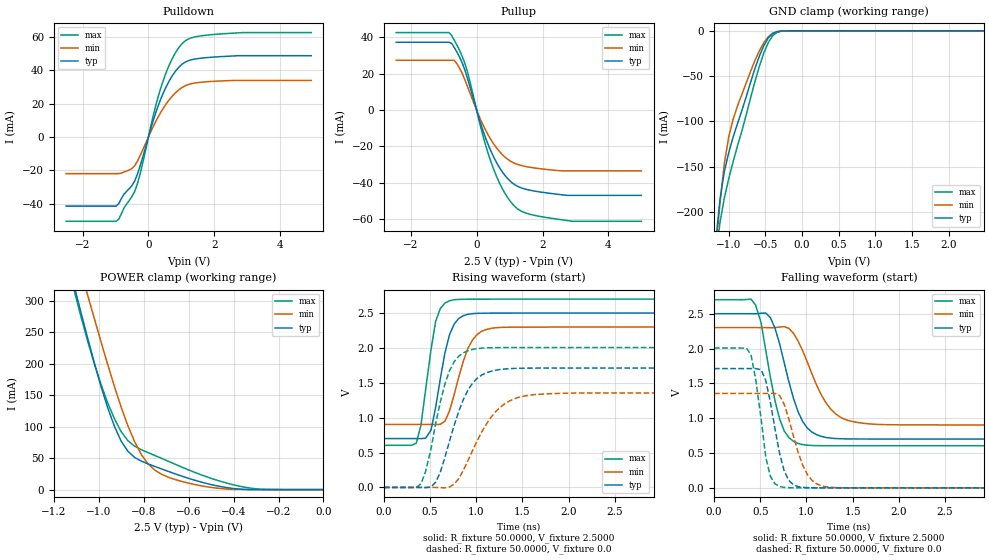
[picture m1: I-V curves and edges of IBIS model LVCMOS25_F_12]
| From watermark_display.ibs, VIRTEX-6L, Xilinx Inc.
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|   Model LVCMOS25_F_12
[Model]  LVCMOS25_F_12
Model_type I/O
Polarity   Non-Inverting
Enable   Active-Low
Vinl = 0.65
Vinh = 1.85
Vmeas =  1.2500V
Cref =   0.0F
Rref =   1.0000M
Vref =   0.0V
| Input mode values:
C_comp 4.494pF 4.451pF 4.526pF
| Output mode values:
|C_comp 4.585pF 4.451pF 4.714pF
[Model Spec]
Vinl   0.65   0.6   0.7
Vinh   1.85   1.7   2.0
[Temperature Range]   25.0000   85.0000   0.0
[Voltage Range]   2.5000V   2.3000V   2.7000V
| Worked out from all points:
|   slope of the pulldown table from 0 to 0.375 V, typ, clamps not added: 16.4 ohm
|   slope of the pullup table from 0 to 0.375 V, typ, clamps not added: 18.7 ohm
|   GND clamp passes 1 mA (typ) near -0.34 V on its own axis
|   POWER clamp passes 1 mA (typ) near -0.38 V on its own axis
|   rising waveform, R_fixture 50.0000, V_fixture 2.5000: 20-80 % time 154ps typ, 192ps min, 134ps max; typ from 0.701 V to 2.5 V
|   rising waveform, R_fixture 50.0000, V_fixture 0.0: 20-80 % time 261ps typ, 339ps min, 210ps max; typ from 0 V to 1.71 V
|   falling waveform, R_fixture 50.0000, V_fixture 2.5000: 20-80 % time 227ps typ, 293ps min, 182ps max; typ from 2.5 V to 0.701 V
|   falling waveform, R_fixture 50.0000, V_fixture 0.0: 20-80 % time 152ps typ, 193ps min, 123ps max; typ from 1.71 V to 0 V
[Pulldown]
|Voltage   I(typ)   I(min)   I(max)
-2.5V     -41.5mA    -22.02mA   -50.6mA
-980mV    -41.5mA    -22.02mA   -50.6mA
-900mV    -39.9mA    -22.02mA   -49.3mA
-500mV    -29.13mA   -18.9mA    -35.68mA
-340mV    -22.63mA   -14.72mA   -28.46mA
220mV     14.46mA    9.227mA    18.74mA
540mV     30.21mA    19.88mA    38.8mA
860mV     40.42mA    27.19mA    51.81mA
1.1V      44.71mA    30.53mA    57.38mA
1.5V      46.99mA    32.6mA     60.33mA
2.3V      48.28mA    33.66mA    61.9mA
4.94V     48.74mA    33.9mA     62.59mA
[Pullup]
|Voltage   I(typ)   I(min)   I(max)
-2.44V    37.31mA    27.39mA    42.64mA
-840mV    37.31mA    27.39mA    42.64mA
-760mV    36.77mA    27.39mA    41.15mA
-600mV    32mA       25.55mA    35.84mA
-280mV    17.58mA    13.07mA    21.21mA
200mV     -11.67mA   -8.395mA   -14.64mA
520mV     -25.95mA   -18.7mA    -32.74mA
840mV     -35.54mA   -25.56mA   -45.25mA
1.24V     -41.97mA   -29.91mA   -54.34mA
1.72V     -44.49mA   -31.78mA   -57.82mA
2.92V     -46.97mA   -33.45mA   -61.24mA
5V        -46.97mA   -33.45mA   -61.24mA
[GND_clamp]
|Voltage   I(typ)   I(min)   I(max)
-2.5V     -1.776A    -1.542A    -2.145A
-1.18V    -234.9mA   -245.4mA   -254.5mA
-1.12V    -186.7mA   -190.9mA   -212.2mA
-1.06V    -155.6mA   -146.6mA   -184.7mA
-1V       -134.5mA   -117.3mA   -163.4mA
-940mV    -117.5mA   -97.81mA   -144.5mA
-700mV    -56.37mA   -44.51mA   -73.49mA
-580mV    -27.49mA   -21.69mA   -38.67mA
-460mV    -7.862mA   -6.57mA    -12.96mA
-400mV    -2.953mA   -2.74mA    -5.373mA
-220mV    -60.62uA   -92.56uA   -101.6uA
2.48V     290.9nA    1.381uA    494.2nA
[POWER_clamp]
|Voltage   I(typ)   I(min)   I(max)
-2.49V    2.255A     2.176A     2.344A
-1.11V    323.7mA    385.4mA    316.8mA
-1.08V    282.1mA    347.1mA    275.4mA
-1.05V    241.1mA    309.2mA    236.2mA
-960mV    129.6mA    198.1mA    137.3mA
-900mV    76.58mA    130.4mA    91.7mA
-870mV    60.61mA    100.9mA    77.39mA
-810mV    45.08mA    55.2mA     63.19mA
-750mV    36.71mA    30.76mA    54.09mA
-570mV    14.56mA    7.858mA    26.92mA
-360mV    564.4uA    122.1uA    4.422mA
0V        294.1nA    909.4nA    566.4nA
[Ramp]
| variable   typ   min   max
dV/dt_r  1.0272/0.2578n   0.8130/0.3387n   1.2036/0.2075n
dV/dt_f  1.0795/0.2227n   0.8379/0.2893n   1.2576/0.1836n
R_load = 50.0000
[Rising Waveform]
R_fixture= 50.0000
V_fixture= 2.5000
V_fixture_min= 2.3000
V_fixture_max= 2.7000
|time   V(typ)   V(min)   V(max)
0s        700.8mV    903.5mV    604mV
350ps     700.9mV    903.5mV    636.5mV
400ps     700.1mV    903.5mV    889.1mV
510ps     821.4mV    903.4mV    1.98V
560ps     1.153V     902.1mV    2.383V
710ps     2.19V      1.097V     2.677V
810ps     2.423V     1.583V     2.696V
910ps     2.483V     1.996V     2.699V
1.16ns    2.499V     2.281V     2.7V
5ns       2.5V       2.3V       2.7V
[Rising Waveform]
R_fixture= 50.0000
V_fixture= 0.0
|time   V(typ)   V(min)   V(max)
0s        0V         0V         0V
400ps     -75.74uV   -9.068uV   51.51mV
450ps     -3.203mV   16.22uV    224.1mV
560ps     74.26mV    -46.05uV   918.2mV
710ps     663.4mV    6.428mV    1.673V
910ps     1.397V     385.8mV    1.96V
1.01ns    1.566V     670.3mV    1.99V
1.21ns    1.681V     1.087V     2.004V
1.57ns    1.711V     1.322V     2.006V
5ns       1.712V     1.355V     2.006V
[Falling Waveform]
R_fixture= 50.0000
V_fixture= 2.5000
V_fixture_min= 2.3000
V_fixture_max= 2.7000
|time   V(typ)   V(min)   V(max)
0s        2.5V       2.3V       2.7V
450ps     2.499V     2.3V       2.624V
510ps     2.507V     2.3V       2.367V
610ps     2.442V     2.299V     1.586V
710ps     2.066V     2.308V     988.3mV
910ps     1.091V     2.106V     636.8mV
1.01ns    857.2mV    1.804V     612.3mV
1.21ns    723.6mV    1.224V     604.6mV
1.46ns    702.5mV    963.7mV    604.1mV
5ns       700.8mV    903.5mV    604mV
[Falling Waveform]
R_fixture= 50.0000
V_fixture= 0.0
|time   V(typ)   V(min)   V(max)
0s        1.712V     1.355V     2.007V
400ps     1.712V     1.355V     1.911V
450ps     1.713V     1.355V     1.561V
560ps     1.54V      1.355V     437.3mV
610ps     1.227V     1.356V     164.6mV
710ps     490.9mV    1.324V     18.69mV
860ps     43.18mV    739.6mV    789.7uV
1.01ns    3.1mV      191.7mV    90.5uV
1.16ns    376.3uV    30.69mV    19.63uV
5ns       23.29uV    26.84uV    2.711uV
